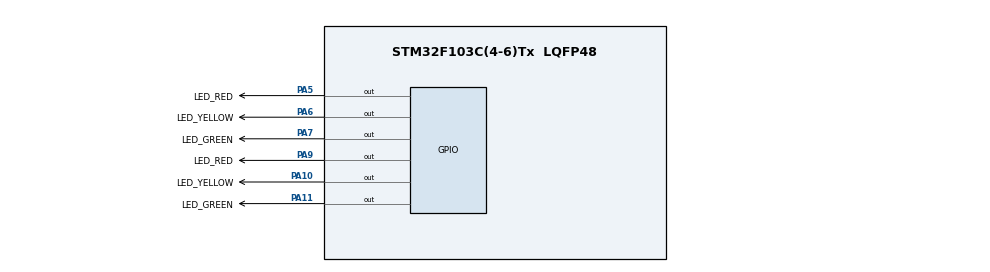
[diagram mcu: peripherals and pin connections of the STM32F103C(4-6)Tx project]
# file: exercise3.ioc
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Mcu.Family=STM32F1
Mcu.Name=STM32F103C(4-6)Tx
Mcu.Package=LQFP48
NVIC.PriorityGroup=NVIC_PRIORITYGROUP_4
PA10.GPIO_Label=LED_YELLOW
PA10.Signal=GPIO_Output
PA11.GPIO_Label=LED_GREEN
PA11.Signal=GPIO_Output
PA5.GPIO_Label=LED_RED
PA5.Signal=GPIO_Output
PA6.GPIO_Label=LED_YELLOW
PA6.Signal=GPIO_Output
PA7.GPIO_Label=LED_GREEN
PA7.Signal=GPIO_Output
PA9.GPIO_Label=LED_RED
PA9.Signal=GPIO_Output
ProjectManager.HeapSize=0x200
ProjectManager.StackSize=0x400
ProjectManager.TargetToolchain=STM32CubeIDE
RCC.APB1Freq_Value=8000000
RCC.APB2Freq_Value=8000000
board=custom

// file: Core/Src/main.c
/* USER CODE BEGIN Header */
/**
  ******************************************************************************
  * @file           : main.c
  * @brief          : Main program body
  ******************************************************************************
  * @attention
  *
  * Copyright (c) 2022 STMicroelectronics.
  * All rights reserved.
  *
  * This software is licensed under terms that can be found in the LICENSE file
  * in the root directory of this software component.
  * If no LICENSE file comes with this software, it is provided AS-IS.
  *
  ******************************************************************************
  */
/* USER CODE END Header */
#include "main.h"

void SystemClock_Config(void);
static void MX_GPIO_Init(void);

int main(void)
{

  /* MCU Configuration--------------------------------------------------------*/

  /* Reset of all peripherals, Initializes the Flash interface and the Systick. */
  HAL_Init();

  /* Configure the system clock */
  SystemClock_Config();

  /* Initialize all configured peripherals */
  MX_GPIO_Init();
  /* USER CODE BEGIN 2 */
  int flag_led_red=1,
    flag_led_yellow=0,
    flag_led_green=0,
    count_red=5,
    count_yellow=0,
    count_green=0,
	count_red2=0,
	count_yellow2=0,
	count_green2=3,
	flag_led_red2=0,
	flag_led_yellow2=0,
	flag_led_green2=1;

  /* USER CODE END 2 */

  /* Infinite loop */
  /* USER CODE BEGIN WHILE */
  while (1)
  {
	  if(flag_led_red){
	  		HAL_GPIO_WritePin(GPIOA, GPIO_PIN_5, 1);
	  		HAL_GPIO_WritePin(GPIOA, GPIO_PIN_6, 0);
	  		HAL_GPIO_WritePin(GPIOA, GPIO_PIN_7, 0);
	  		count_red--;
	  		if(count_red==0){
	  			flag_led_red=0;
	  			flag_led_yellow=0;
	  			flag_led_green=1;
	  			count_green=3;
	  		}
	  	}
	  	else if(flag_led_yellow){
	  		HAL_GPIO_WritePin(GPIOA, GPIO_PIN_5, 0);
	  		HAL_GPIO_WritePin(GPIOA, GPIO_PIN_6, 1);
	  		HAL_GPIO_WritePin(GPIOA, GPIO_PIN_7, 0);
	  		count_yellow--;
	  		if(count_yellow==0){
	  			flag_led_red=1;
	  			flag_led_yellow=0;
	  			flag_led_green=0;
	  			count_red=5;
	  		}
	  	}
	  	else if(flag_led_green){
	  		HAL_GPIO_WritePin(GPIOA, GPIO_PIN_5, 0);
	  		HAL_GPIO_WritePin(GPIOA, GPIO_PIN_6, 0);
	  		HAL_GPIO_WritePin(GPIOA, GPIO_PIN_7, 1);
	  		count_green--;
	  		if(count_green==0){
	  			flag_led_red=0;
	  			flag_led_yellow=1;
	  			flag_led_green=0;
	  			count_yellow=2;
	  		}
	  	}
	  //Set the other traffic lights
	  if(flag_led_red2){
	  		HAL_GPIO_WritePin(GPIOA, GPIO_PIN_9, 1);
	  		HAL_GPIO_WritePin(GPIOA, GPIO_PIN_10, 0);
	  		HAL_GPIO_WritePin(GPIOA, GPIO_PIN_11, 0);
	  		count_red2--;
	  		if(count_red2==0){
	  			flag_led_red2=0;
	  			flag_led_yellow2=0;
	  			flag_led_green2=1;
	  			count_green2=3;
	  		}
	  	}
	  	else if(flag_led_yellow2){
	  		HAL_GPIO_WritePin(GPIOA, GPIO_PIN_9, 0);
	  		HAL_GPIO_WritePin(GPIOA, GPIO_PIN_10, 1);
	  		HAL_GPIO_WritePin(GPIOA, GPIO_PIN_11, 0);
	  		count_yellow2--;
	  		if(count_yellow2==0){
	  			flag_led_red2=1;
	  			flag_led_yellow2=0;
	  			flag_led_green2=0;
	  			count_red2=5;
	  		}
	  	}
	  	else if(flag_led_green2){
	  		HAL_GPIO_WritePin(GPIOA, GPIO_PIN_9, 0);
	  		HAL_GPIO_WritePin(GPIOA, GPIO_PIN_10, 0);
	  		HAL_GPIO_WritePin(GPIOA, GPIO_PIN_11, 1);
	  		count_green2--;
	  		if(count_green2==0){
	  			flag_led_red2=0;
	  			flag_led_yellow2=1;
	  			flag_led_green2=0;
	  			count_yellow2=2;
	  		}
	  	}
	  	HAL_Delay(1000);
    /* USER CODE END WHILE */

  }
}

void SystemClock_Config(void)
{
  RCC_OscInitTypeDef RCC_OscInitStruct = {0};
  RCC_ClkInitTypeDef RCC_ClkInitStruct = {0};

  /** Initializes the RCC Oscillators according to the specified parameters
  * in the RCC_OscInitTypeDef structure.
  */
  RCC_OscInitStruct.OscillatorType = RCC_OSCILLATORTYPE_HSI;
  RCC_OscInitStruct.HSIState = RCC_HSI_ON;
  RCC_OscInitStruct.HSICalibrationValue = RCC_HSICALIBRATION_DEFAULT;
  RCC_OscInitStruct.PLL.PLLState = RCC_PLL_NONE;
  if (HAL_RCC_OscConfig(&RCC_OscInitStruct) != HAL_OK)
  {
    Error_Handler();
  }

  /** Initializes the CPU, AHB and APB buses clocks
  */
  RCC_ClkInitStruct.ClockType = RCC_CLOCKTYPE_HCLK|RCC_CLOCKTYPE_SYSCLK
                              |RCC_CLOCKTYPE_PCLK1|RCC_CLOCKTYPE_PCLK2;
  RCC_ClkInitStruct.SYSCLKSource = RCC_SYSCLKSOURCE_HSI;
  RCC_ClkInitStruct.AHBCLKDivider = RCC_SYSCLK_DIV1;
  RCC_ClkInitStruct.APB1CLKDivider = RCC_HCLK_DIV1;
  RCC_ClkInitStruct.APB2CLKDivider = RCC_HCLK_DIV1;

  if (HAL_RCC_ClockConfig(&RCC_ClkInitStruct, FLASH_LATENCY_0) != HAL_OK)
  {
    Error_Handler();
  }
}

static void MX_GPIO_Init(void)
{
  GPIO_InitTypeDef GPIO_InitStruct = {0};

  /* GPIO Ports Clock Enable */
  __HAL_RCC_GPIOA_CLK_ENABLE();

  /*Configure GPIO pin Output Level */
  HAL_GPIO_WritePin(GPIOA, LED_RED_Pin|LED_YELLOW_Pin|LED_GREEN_Pin|LED_REDA9_Pin
                          |LED_YELLOWA10_Pin|LED_GREENA11_Pin, GPIO_PIN_RESET);

  /*Configure GPIO pins : LED_RED_Pin LED_YELLOW_Pin LED_GREEN_Pin LED_REDA9_Pin
                           LED_YELLOWA10_Pin LED_GREENA11_Pin */
  GPIO_InitStruct.Pin = LED_RED_Pin|LED_YELLOW_Pin|LED_GREEN_Pin|LED_REDA9_Pin
                          |LED_YELLOWA10_Pin|LED_GREENA11_Pin;
  GPIO_InitStruct.Mode = GPIO_MODE_OUTPUT_PP;
  GPIO_InitStruct.Pull = GPIO_NOPULL;
  GPIO_InitStruct.Speed = GPIO_SPEED_FREQ_LOW;
  HAL_GPIO_Init(GPIOA, &GPIO_InitStruct);

}

void Error_Handler(void)
{
  __disable_irq();
  while (1)
  {
  }
}
